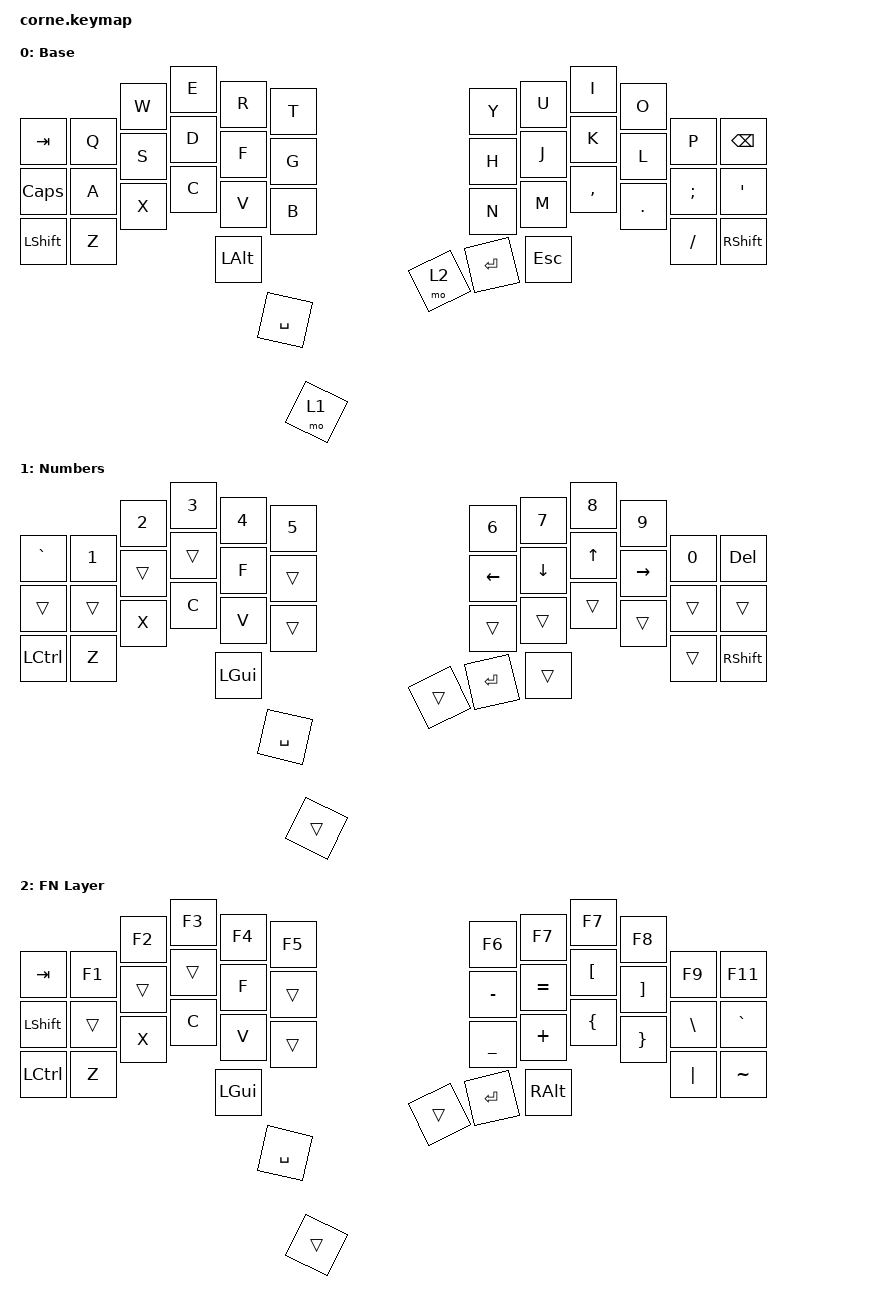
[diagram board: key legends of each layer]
/*
 * Copyright (c) 2020 The ZMK Contributors
 *
 * SPDX-License-Identifier: MIT
 */

#include <behaviors.dtsi>
#include <dt-bindings/zmk/keys.h>
#include <dt-bindings/zmk/bt.h>

/ {
        keymap {
                compatible = "zmk,keymap";

                default_layer {
// -----------------------------------------------------------------------------------------
// |  TAB |  Q  |  W  |  E  |  R  |  T  |   |  Y  |  U   |  I  |  O  |  P  | BSPC |
// | CAPS |  A  |  S  |  D  |  F  |  G  |   |  H  |  J   |  K  |  L  |  ;  |  '   |
// | SHFT |  Z  |  X  |  C  |  V  |  B  |   |  N  |  M   |  ,  |  .  |  /  | SHFT |
//                    | ALT | SPC | LWR |   | FN  | ENT  | ESC |
                        display-name = "Base";
                        bindings = <
   &kp TAB   &kp Q &kp W &kp E &kp R &kp T   &kp Y &kp U  &kp I     &kp O   &kp P    &kp BSPC
   &kp CAPS  &kp A &kp S &kp D &kp F &kp G   &kp H &kp J  &kp K     &kp L   &kp SEMI &kp SQT
   &kp LSHFT &kp Z &kp X &kp C &kp V &kp B   &kp N &kp M  &kp COMMA &kp DOT &kp FSLH &kp RSHIFT
                  &kp LALT &kp SPACE &mo 1   &mo 2 &kp RET &kp ESC
                        >;
                };
                lower_layer {
// -----------------------------------------------------------------------------------------
// |  `   |  1  |  2  |  3  |  4  |  5  |   |  6  |  7  |  8  |  9  |  0  | DEL  |
// |      |     |     |     |  F  |     |   | LFT | DWN |  UP | RGT |     |      |
// | CTRL |  Z  |  X  |  C  |  V  |     |   |     |     |     |     |     | SHFT |
//                    | GUI | SPC |     |   |     | ENT |     |
                        display-name = "Numbers";
                        bindings = <
   &kp GRAVE &kp N1 &kp N2 &kp N3 &kp N4 &kp N5    &kp N6   &kp N7   &kp N8 &kp N9    &kp N0 &kp DEL
   &trans    &trans &trans &trans &kp F  &trans    &kp LEFT &kp DOWN &kp UP &kp RIGHT &trans &trans
   &kp LCTRL &kp Z  &kp X  &kp C  &kp V  &trans    &trans   &trans   &trans &trans    &trans &kp RSHIFT
                      &kp LGUI &kp SPACE &trans    &trans   &kp RET  &trans
                        >;
                };

                   FN_layer {
// -----------------------------------------------------------------------------------------
// |  TAB | F1  | F2  | F3  | F4  | F5  |   | F6  | F7  | F8  | F9  | F10 | F11  |
// | SHFT |     |     |     |  F  |     |   |  -  |  =  |  [  |  ]  |  \  |  `   |
// | CTRL |  Z  |  X  |  C  |  V  |     |   |  _  |  +  |  {  |  }  | "|" |  ~   |
//                    | GUI | SPC |     |   |     | ENT | ALT |
                        display-name = "FN Layer";
                        bindings = <
   &kp TAB   &kp F1   &kp F2 &kp F3   &kp F4    &kp F5      &kp F6    &kp F7    &kp F7    &kp F8   &kp F9   &kp F11
   &kp LSHFT &trans   &trans &trans   &kp F     &trans      &kp MINUS &kp EQUAL &kp LBKT  &kp RBKT &kp BSLH &kp GRAVE
   &kp LCTRL &kp Z    &kp X  &kp C    &kp V     &trans      &kp UNDER &kp PLUS  &kp LBRC  &kp RBRC &kp PIPE &kp TILDE
                             &kp LGUI &kp SPACE &trans      &trans    &kp RET   &kp RALT
                        >;
                };
        };
};
